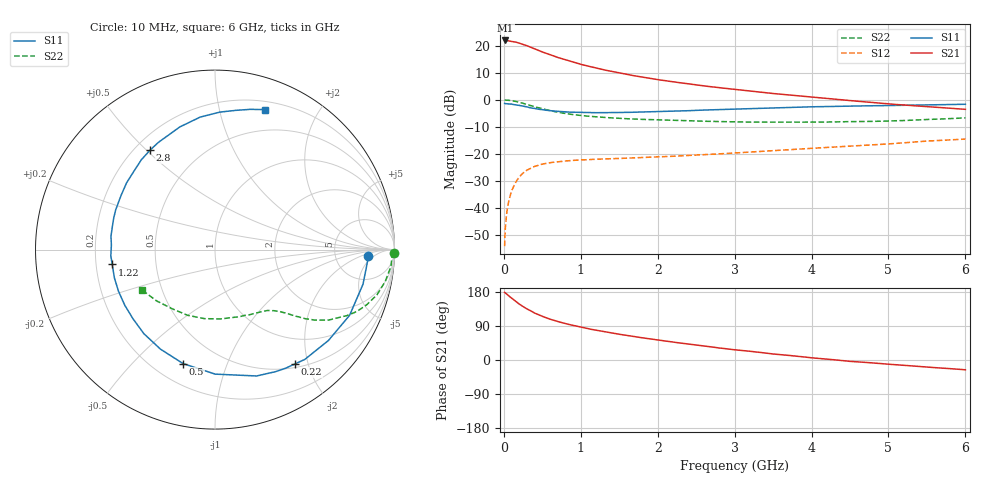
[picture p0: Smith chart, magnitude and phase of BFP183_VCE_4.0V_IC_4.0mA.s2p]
! Infineon Technologies  Discrete & RF Semiconductors
! BFP183
! VCE = 4.0 V,  IC =  4.0 mA
! Common Emitter S-Parameters:  Jan 2016
# GHz  S  MA  R  50
!  f  S11  S21  S12  S22
! GHz  MAG  ANG  MAG  ANG  MAG  ANG  MAG  ANG
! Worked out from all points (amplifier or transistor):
!   210 points, 10 MHz to 6 GHz, reference 50 ohm
!   highest |S21| = 21.9 dB at 20 MHz (marker M1)
!   |S21| within 3 dB of that: start of sweep to 393.3 MHz
!   unconditionally stable (mu >= 1): 1.711 GHz to 5.675 GHz
!   at 185 MHz: K = 0.14, MSG = 25.0 dB, |S12| = -29.1 dB
!   at 1.52 GHz: K = 0.92, MSG = 15.7 dB, |S12| = -21.6 dB
!   at 6 GHz: K = 0.94, MSG = 5.5 dB, |S12| = -14.5 dB
!   S11 on the Smith chart (normalised r, x): 10 MHz: 12, -3; 220 MHz: 0.56, -1.79; 500 MHz: 0.32, -0.71; 1.22 GHz: 0.27, -0.07; 2.8 GHz: 0.26, +0.51; 6 GHz: 0.28, +1.38
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0.01  0.8557 -2.5  12.34 178.4  0.002 84.5  0.9956 -1.0
0.02  0.8508 -5.5  12.43 177.0  0.0044 87.6  0.9873 -2.1
0.05  0.8468 -13.2  12.33 171.5  0.0108 86.0  0.985 -5.4
0.1  0.8345 -26.0  11.92 163.2  0.0206 74.7  0.9651 -10.6
0.15  0.8099 -38.7  11.64 155.1  0.0294 69.2  0.9369 -15.6
0.2  0.7905 -50.7  11.1 147.7  0.0377 63.7  0.9012 -19.8
0.22  0.7774 -55.0  10.83 145.0  0.0404 61.6  0.8852 -21.3
0.3  0.7412 -71.8  9.957 134.9  0.0504 54.3  0.82 -26.7
0.4  0.6938 -89.9  8.724 123.8  0.0591 46.6  0.745 -31.8
0.5  0.6596 -105.6  7.621 115.0  0.0652 40.9  0.683 -35.1
0.6  0.6324 -118.7  6.826 107.7  0.0694 36.8  0.6321 -37.5
0.7  0.6136 -130.2  6.043 101.5  0.072 33.7  0.5898 -39.2
0.8  0.5977 -139.9  5.479 95.9  0.0743 31.2  0.5582 -40.6
1.02  0.5841 -158.2  4.435 85.8  0.0778 28.1  0.5109 -43.0
1.22  0.5787 -171.8  3.786 77.9  0.0804 26.1  0.4832 -45.1
1.52  0.5843 171.7  3.097 67.3  0.0832 25.7  0.4533 -48.4
2.02  0.605 149.4  2.334 52.3  0.0889 25.7  0.4261 -55.2
2.8  0.6616 123.2  1.672 31.7  0.1005 27.5  0.3989 -69.6
3.1  0.6803 115.4  1.505 25.1  0.1066 28.3  0.39 -76.1
4.1  0.7462 94.7  1.09 4.1  0.1299 27.5  0.3887 -101.4
5.1  0.7881 80.4  0.82 -12.5  0.1575 25.1  0.4102 -128.5
6  0.8274 70.5  0.667 -25.8  0.1887 18.8  0.4642 -151.0
